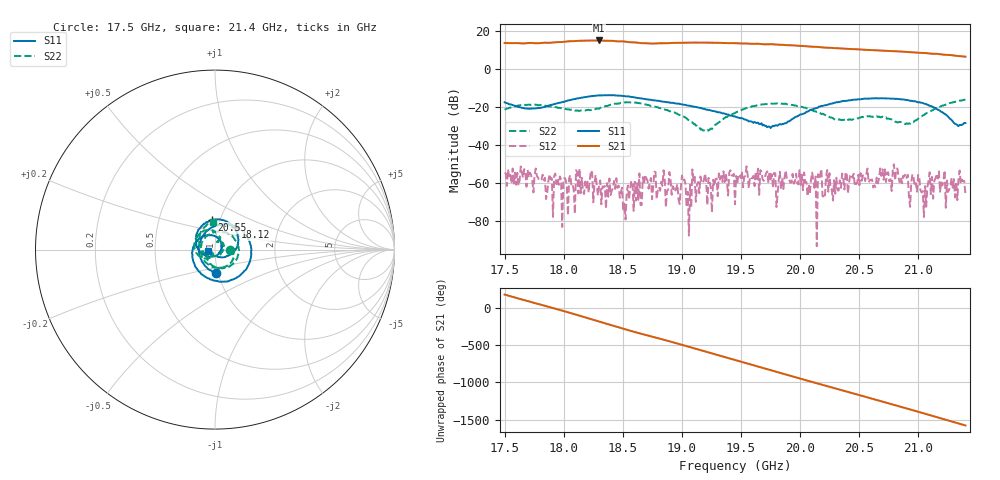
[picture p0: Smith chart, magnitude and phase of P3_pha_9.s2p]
!Created with skrf (http://scikit-rf.org).
# GHz S RI R 50.0
!freq ReS11 ImS11 ReS21 ImS21 ReS12 ImS12 ReS22 ImS22
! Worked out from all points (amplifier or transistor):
!   401 points, 17.5 GHz to 21.4 GHz, reference 50 ohm
!   highest |S21| = 15.1 dB at 18.3 GHz (marker M1)
!   |S21| within 3 dB of that: start of sweep to 20.04 GHz
!   unconditionally stable (mu >= 1): start of sweep to end of sweep
!   at 18.14 GHz: K = 161.47, MAG = 15.1 dB, |S12| = -65.5 dB
!   at 19.45 GHz: K = 377.11, MAG = 13.7 dB, |S12| = -71.3 dB
!   at 21.4 GHz: K = 440.94, MAG = 6.7 dB, |S12| = -65.7 dB
!   S11 on the Smith chart (normalised r, x): 17.5 GHz: 0.98, -0.26; 18.12 GHz: 1.21, +0.32; 20.55 GHz: 0.91, +0.31; 21.4 GHz: 0.93, -0.02
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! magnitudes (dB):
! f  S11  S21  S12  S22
! 17.5 GHz  -17.5  13.8  -54.6  -21.4
! 18.12 GHz  -15.4  14.9  -65.6  -22.0
! 18.15 GHz  -15.1  15.0  -57.4  -21.8
! 18.3 GHz  -13.9  15.1  -61.2  -20.9
! 18.45 GHz  -13.9  14.7  -57.6  -18.3
! 18.51 GHz  -14.2  14.6  -71.0  -17.6
! 18.69 GHz  -15.8  13.7  -55.8  -18.6
! 18.81 GHz  -16.7  13.6  -62.3  -20.5
! 19.01 GHz  -18.7  13.9  -59.0  -25.0
! 19.06 GHz  -19.3  14.0  -87.9  -27.0
! 19.09 GHz  -19.7  14.0  -52.9  -28.1
! 19.2 GHz  -21.1  14.0  -55.1  -32.6
! 19.45 GHz  -24.9  13.7  -71.3  -23.2
! 19.74 GHz  -30.4  13.2  -54.0  -18.2
! 19.82 GHz  -29.3  12.9  -58.3  -18.0
! 20.1 GHz  -21.2  11.8  -54.5  -21.7
! 20.55 GHz  -15.6  10.2  -59.1  -24.9
! 20.76 GHz  -15.5  9.6  -59.2  -26.3
! 20.89 GHz  -16.3  9.1  -55.3  -29.0
! 21.05 GHz  -18.1  8.5  -78.1  -24.3
! 21.16 GHz  -21.0  8.1  -55.3  -20.5
! 21.4 GHz  -28.4  6.6  -65.7  -16.1
